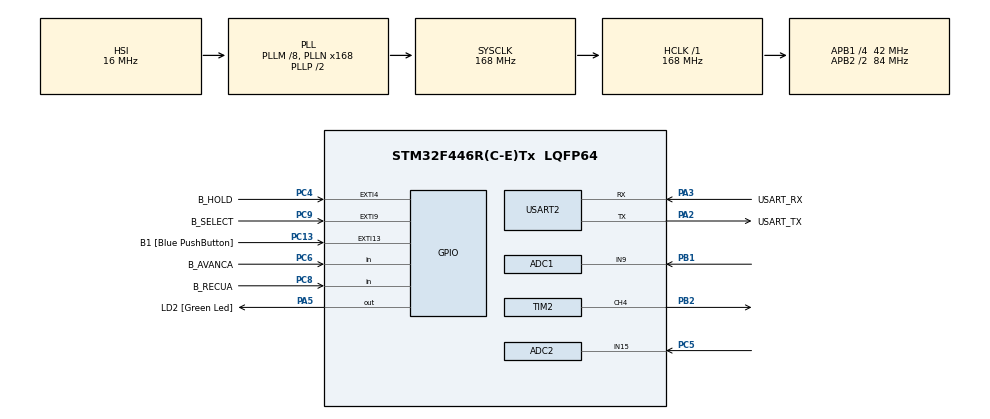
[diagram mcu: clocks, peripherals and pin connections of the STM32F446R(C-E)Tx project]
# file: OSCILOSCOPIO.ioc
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ADC1.Channel-1\#ChannelRegularConversion=ADC_CHANNEL_9
ADC1.NbrOfConversionFlag=1
ADC1.Rank-1\#ChannelRegularConversion=1
ADC1.SamplingTime-1\#ChannelRegularConversion=ADC_SAMPLETIME_3CYCLES
ADC1.master=1
ADC2.Channel-0\#ChannelRegularConversion=ADC_CHANNEL_15
ADC2.NbrOfConversionFlag=1
ADC2.Rank-0\#ChannelRegularConversion=1
ADC2.SamplingTime-0\#ChannelRegularConversion=ADC_SAMPLETIME_3CYCLES
ARM.CMSIS.5.6.0.CMSISJjCORE=true
ARM.CMSIS.5.6.0.CMSISJjDSP=Library
Mcu.Family=STM32F4
Mcu.Name=STM32F446R(C-E)Tx
Mcu.Package=LQFP64
NVIC.EXTI15_10_IRQn=true\:0\:0\:false\:false\:true\:true\:true
NVIC.EXTI4_IRQn=true\:0\:0\:false\:false\:true\:true\:true
NVIC.EXTI9_5_IRQn=true\:0\:0\:false\:false\:true\:true\:true
NVIC.PriorityGroup=NVIC_PRIORITYGROUP_0
NVIC.TIM6_DAC_IRQn=true\:0\:0\:false\:false\:true\:true\:true
PA13.GPIO_Label=TMS
PA13.Mode=Serial_Wire
PA13.Signal=SYS_JTMS-SWDIO
PA14.GPIO_Label=TCK
PA14.Mode=Serial_Wire
PA14.Signal=SYS_JTCK-SWCLK
PA2.GPIO_Label=USART_TX
PA2.Mode=Asynchronous
PA2.Signal=USART2_TX
PA3.GPIO_Label=USART_RX
PA3.Mode=Asynchronous
PA3.Signal=USART2_RX
PA5.GPIO_Label=LD2 [Green Led]
PA5.Signal=GPIO_Output
PB1.Signal=ADCx_IN9
PB2.Signal=S_TIM2_CH4
PB3.GPIO_Label=SWO
PB3.Signal=SYS_JTDO-SWO
PC13.GPIO_Label=B1 [Blue PushButton]
PC13.GPIO_ModeDefaultEXTI=GPIO_MODE_IT_FALLING
PC13.GPIO_PuPd=GPIO_NOPULL
PC13.Signal=GPXTI13
PC14-OSC32_IN.Mode=LSE-External-Oscillator
PC14-OSC32_IN.Signal=RCC_OSC32_IN
PC15-OSC32_OUT.Mode=LSE-External-Oscillator
PC15-OSC32_OUT.Signal=RCC_OSC32_OUT
PC4.GPIO_Label=B_HOLD
PC4.GPIO_ModeDefaultEXTI=GPIO_MODE_IT_RISING
PC4.GPIO_PuPd=GPIO_PULLDOWN
PC4.Signal=GPXTI4
PC5.Signal=ADCx_IN15
PC6.GPIO_Label=B_AVANCA
PC6.GPIO_PuPd=GPIO_PULLDOWN
PC6.Signal=GPIO_Input
PC8.GPIO_Label=B_RECUA
PC8.GPIO_PuPd=GPIO_PULLDOWN
PC8.Signal=GPIO_Input
PC9.GPIO_Label=B_SELECT
PC9.GPIO_ModeDefaultEXTI=GPIO_MODE_IT_FALLING
PC9.GPIO_PuPd=GPIO_PULLDOWN
PC9.Signal=GPXTI9
PH0-OSC_IN.Mode=HSE-External-Oscillator
PH0-OSC_IN.Signal=RCC_OSC_IN
PH1-OSC_OUT.Mode=HSE-External-Oscillator
PH1-OSC_OUT.Signal=RCC_OSC_OUT
ProjectManager.HeapSize=0x400
ProjectManager.StackSize=0x600
ProjectManager.TargetToolchain=STM32CubeIDE
RCC.48MHZClocksFreq_Value=84000000
RCC.AHBFreq_Value=168000000
RCC.APB1CLKDivider=RCC_HCLK_DIV4
RCC.APB1Freq_Value=42000000
RCC.APB1TimFreq_Value=84000000
RCC.APB2CLKDivider=RCC_HCLK_DIV2
RCC.APB2Freq_Value=84000000
RCC.APB2TimFreq_Value=168000000
RCC.CortexFreq_Value=168000000
RCC.FLatency-AdvancedSettings=FLASH_LATENCY_5
RCC.HCLKFreq_Value=168000000
RCC.HSE_VALUE=8000000
RCC.HSI_VALUE=16000000
RCC.PLLM=8
RCC.PLLN=168
RCC.SYSCLKFreq_VALUE=168000000
RCC.SYSCLKSource=RCC_SYSCLKSOURCE_PLLCLK
RCC.USBFreq_Value=168000000
RCC.VCOOutputFreq_Value=336000000
SH.ADCx_IN15.0=ADC2_IN15,IN15
SH.ADCx_IN9.0=ADC1_IN9,IN9
SH.S_TIM2_CH4.0=TIM2_CH4,PWM Generation4 CH4
TIM1.AutoReloadPreload=TIM_AUTORELOAD_PRELOAD_ENABLE
TIM1.Period=0xFFFF-1
TIM1.Prescaler=84-1
TIM2.Channel-PWM\ Generation4\ CH4=TIM_CHANNEL_4
TIM2.Period=1000-1
TIM2.Prescaler=168-1
TIM6.Period=100-1
TIM6.Prescaler=168-1
USART2.VirtualMode=VM_ASYNC
VP_ARM.CMSIS_VS_CMSISJjCORE_5.3.0.Mode=CMSISJjCORE
VP_ARM.CMSIS_VS_CMSISJjDSP_1.7.0.Mode=CMSISJjDSP
VP_TIM1_VS_ClockSourceINT.Mode=Internal
VP_TIM2_VS_ClockSourceINT.Mode=Internal
VP_TIM6_VS_ClockSourceINT.Mode=Enable_Timer
board=NUCLEO-F446RE

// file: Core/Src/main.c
/* USER CODE BEGIN Header */
/**
  ******************************************************************************
  * @file           : main.c
  * @brief          : Main program body
  ******************************************************************************
  * @attention
  *
  * <h2><center>&copy; Copyright (c) 2020 STMicroelectronics.
  * All rights reserved.</center></h2>
  *
  * This software component is licensed by ST under BSD 3-Clause license,
  * the "License"; You may not use this file except in compliance with the
  * License. You may obtain a copy of the License at:
  *                        opensource.org/licenses/BSD-3-Clause
  *
  ******************************************************************************
  */
/* USER CODE END Header */

#include "main.h"

/* USER CODE BEGIN Includes */
#include "stdio.h"
#include "fonts.h"
#include "tft.h"
#include "user_setting.h"
#include "functions.h"

#include "arm_math.h"
#include "arm_const_structs.h"

#include <string.h>

/* USER CODE END Includes */

/* USER CODE BEGIN PD */
#define DEBUG  0
#define TEST_LENGTH_SAMPLES 2048
#define LCD_W  320
#define LCD_H  240
#define TIME_MAX 5

/* FFT settings */
#define SAMPLES	512 			/* 256 real party and 256 imaginary parts */
#define FFT_SIZE SAMPLES / 2		/* FFT size is always the same size as we have samples, so 256 in our case */

//Defines para referenciar os estados da FSM
#define DC_GND		0
#define FFT			1
#define T_DIV		2
#define HOLD_DC		3
#define HOLD_FFT	4
#define HOLD_TDIV	5

#define DC_GND_SCREEN	1
#define FFT_SCREEN		2
#define FREQ_SCREEN		3
#define HOLD_SCREEN		4
/* USER CODE END PD */

ADC_HandleTypeDef hadc1;
ADC_HandleTypeDef hadc2;

TIM_HandleTypeDef htim1;
TIM_HandleTypeDef htim2;
TIM_HandleTypeDef htim6;

UART_HandleTypeDef huart2;

/* USER CODE BEGIN PV */

/* ------------------------------------------------------------------
 *	Imagens BMP convertidas para RGB565
 * -----------------------------------------------------------------*/
extern const unsigned short osciloscopio_320x240[76800];
extern const unsigned short telaosc_320x240[76800];

/*
 * Global Variables
 */
int32_t len;
int32_t size;
char sBuffer[30]; //CONVERSÃO...
uint8_t iADCValues[320] = {0};	//buffer para aguarda as amostras do sinal analogico
uint16_t iRefCH1 = 120;			//Posicao da referencia "0" no LCD
uint16_t mapTime[5][2]={{500,100},{250,50},{100,20},{50,10},{10,0}}; //1ºvalor = tempo em us
																	 //2ºvalor = tempo para delay de amostras

_Bool bModeDC = 1;		//Variavel para indicar se o modo DC esta ativo
uint8_t iTimeRef = 4;
uint8_t iModeFFT = 0;
uint8_t iVolts = 2;

/* ------------------------------------------------------------------
* Input and Output buffer Declarations for FFT
* ------------------------------------------------------------------- */
float32_t input_f32_10khz[TEST_LENGTH_SAMPLES];
static float32_t output_buffer[TEST_LENGTH_SAMPLES/2];

uint8_t fim_amostragem =0;

/* ------------------------------------------------------------------
* Global variables for FFT Bin Example
* ------------------------------------------------------------------- */
float32_t Input[SAMPLES];
float32_t Output[FFT_SIZE];

//Maquina de estado
_Bool bHold = 0;
_Bool bAvanca = 0;
_Bool bRecua = 0;
_Bool bSelect = 0;

uint8_t iMenuSelection = 1;

struct State {
	uint16_t Screen;		//Saída para o estado
	uint16_t wait;		//Tempo de espera do estado
	uint8_t next[8];	//Vetor de proximos estados
};
typedef const struct State tipoS;

//Estrutura de dados que corresponde ao diagrama de transição de estado
tipoS Fsm[6] = {
		[DC_GND] = {DC_GND_SCREEN,0,{DC_GND,HOLD_DC,FFT,HOLD_DC,T_DIV,HOLD_DC,DC_GND,HOLD_DC}},
		[FFT] = {FFT_SCREEN,0,{FFT,HOLD_FFT,T_DIV,HOLD_FFT,DC_GND,HOLD_FFT,FFT,HOLD_FFT}},
		[T_DIV] = {FREQ_SCREEN,0,{T_DIV,HOLD_TDIV,DC_GND,HOLD_TDIV,FFT,HOLD_TDIV,T_DIV,HOLD_TDIV}},
		[HOLD_DC] = {HOLD_SCREEN,0,{DC_GND,HOLD_DC,DC_GND,HOLD_DC,DC_GND,HOLD_DC,DC_GND,HOLD_DC}},
		[HOLD_FFT] = {HOLD_SCREEN,0,{FFT,HOLD_FFT,FFT,HOLD_FFT,FFT,HOLD_FFT,FFT,HOLD_FFT}},
		[HOLD_TDIV] = {HOLD_SCREEN,0,{T_DIV,HOLD_TDIV,T_DIV,HOLD_TDIV,T_DIV,HOLD_TDIV,T_DIV,HOLD_TDIV}},
};

uint8_t cState = DC_GND ;	//Estado atual

/* USER CODE END PV */

void SystemClock_Config(void);
static void MX_GPIO_Init(void);
static void MX_USART2_UART_Init(void);
static void MX_TIM1_Init(void);
static void MX_ADC1_Init(void);
static void MX_TIM2_Init(void);
static void MX_ADC2_Init(void);
static void MX_TIM6_Init(void);
/* USER CODE BEGIN PFP */
void USER_TFT_Init(void);
//void ModoAC(uint8_t *);
void ModoGND();
void ModoDC();
void ModoFFT();
void TelaInicial(uint8_t *);
void PlotaGrade(uint16_t, uint16_t, uint16_t,uint16_t,uint16_t,uint16_t);
long map(long, long, long, long, long);
void delayUs (uint16_t);
void USER_DrawBackground(void);
void updateMenu(uint8_t iMenuSelect);
void clickEventTreatment(uint8_t iMenuSelect);

/* USER CODE END PFP */

/* USER CODE BEGIN 0 */

#ifdef __GNUC__
/* With GCC/RAISONANCE, small printf (option LD Linker->Libraries->Small printf
 set to 'Yes') calls __io_putchar() */
	#define PUTCHAR_PROTOTYPE int __io_putchar(int ch)
#else
	#define PUTCHAR_PROTOTYPE int fputc(int ch, FILE *f)
#endif /* __GNUC__ */

int x = 0;
/* USER CODE END 0 */

int main(void)
{

  /* MCU Configuration--------------------------------------------------------*/

  /* Reset of all peripherals, Initializes the Flash interface and the Systick. */
  HAL_Init();

  /* Configure the system clock */
  SystemClock_Config();

  /* Initialize all configured peripherals */
  MX_GPIO_Init();
  MX_USART2_UART_Init();
  MX_TIM1_Init();
  MX_ADC1_Init();
  MX_TIM2_Init();
  MX_ADC2_Init();
  MX_TIM6_Init();
  /* USER CODE BEGIN 2 */
  USER_TFT_Init();

  //Inicia o PWM no pino PB1
  HAL_TIM_PWM_Start(&htim2, TIM_CHANNEL_4);
  htim2.Instance->CCR4 = 500; //Duty cycle = 50% -> 50

  //Initialize ISR TIM6
  HAL_TIM_Base_Start_IT(&htim6);

  //Desenha o background do LCD
  USER_DrawBackground();

  /* USER CODE END 2 */

  /* Infinite loop */
  /* USER CODE BEGIN WHILE */
  while (1)
  {
	  //Verifica se o botao de click foi pressionado
	  if (bSelect == true) clickEventTreatment(iMenuSelection);

	  //Verifica se o botao hold foi pressionado
	  if (bHold == false)
	  {
		  switch(Fsm[cState].Screen)
		  {
			  case DC_GND_SCREEN:	iMenuSelection = DC_GND;
				  	  	  	  	  	updateMenu(iMenuSelection);
									if(bModeDC) ModoDC();
										else ModoGND();
									break;

			  case FFT_SCREEN:	  iMenuSelection = FFT;
				  	  	  	  	  updateMenu(iMenuSelection);
				  	  	  	  	  ModoFFT();
								  break;

			  case FREQ_SCREEN:   iMenuSelection = T_DIV;
				  	  	  	  	  updateMenu(iMenuSelection);
				  	  	  	  	  if(bModeDC) ModoDC();
				  	  	  			else ModoGND();
								  break;

			  case HOLD_SCREEN:	  updateMenu(iMenuSelection);
			  	  	  	  	  	  break;
			  default: break;
		  }
	  }
	  else
	  {
		  updateMenu(iMenuSelection);
	  }
	  //Leitura do ADC2 para verificar a escala V/DIV
	  //USER_ReadVDiv();

	 //Faz a leitura dos botao Avanca e Recua para calcular o proximo estado
	 bAvanca = HAL_GPIO_ReadPin(GPIOC, B_AVANCA_Pin);
	 bRecua = HAL_GPIO_ReadPin(GPIOC, B_RECUA_Pin);
	 cState = Fsm[cState].next[bHold | (bAvanca<<1) | (bRecua<<2)];

    /* USER CODE END WHILE */

  }
}

void SystemClock_Config(void)
{
  RCC_OscInitTypeDef RCC_OscInitStruct = {0};
  RCC_ClkInitTypeDef RCC_ClkInitStruct = {0};

  /** Configure the main internal regulator output voltage
  */
  __HAL_RCC_PWR_CLK_ENABLE();
  __HAL_PWR_VOLTAGESCALING_CONFIG(PWR_REGULATOR_VOLTAGE_SCALE1);
  /** Initializes the CPU, AHB and APB busses clocks
  */
  RCC_OscInitStruct.OscillatorType = RCC_OSCILLATORTYPE_HSI;
  RCC_OscInitStruct.HSIState = RCC_HSI_ON;
  RCC_OscInitStruct.HSICalibrationValue = RCC_HSICALIBRATION_DEFAULT;
  RCC_OscInitStruct.PLL.PLLState = RCC_PLL_ON;
  RCC_OscInitStruct.PLL.PLLSource = RCC_PLLSOURCE_HSI;
  RCC_OscInitStruct.PLL.PLLM = 8;
  RCC_OscInitStruct.PLL.PLLN = 168;
  RCC_OscInitStruct.PLL.PLLP = RCC_PLLP_DIV2;
  RCC_OscInitStruct.PLL.PLLQ = 2;
  RCC_OscInitStruct.PLL.PLLR = 2;
  if (HAL_RCC_OscConfig(&RCC_OscInitStruct) != HAL_OK)
  {
    Error_Handler();
  }
  /** Initializes the CPU, AHB and APB busses clocks
  */
  RCC_ClkInitStruct.ClockType = RCC_CLOCKTYPE_HCLK|RCC_CLOCKTYPE_SYSCLK
                              |RCC_CLOCKTYPE_PCLK1|RCC_CLOCKTYPE_PCLK2;
  RCC_ClkInitStruct.SYSCLKSource = RCC_SYSCLKSOURCE_PLLCLK;
  RCC_ClkInitStruct.AHBCLKDivider = RCC_SYSCLK_DIV1;
  RCC_ClkInitStruct.APB1CLKDivider = RCC_HCLK_DIV4;
  RCC_ClkInitStruct.APB2CLKDivider = RCC_HCLK_DIV2;

  if (HAL_RCC_ClockConfig(&RCC_ClkInitStruct, FLASH_LATENCY_5) != HAL_OK)
  {
    Error_Handler();
  }
}

static void MX_ADC1_Init(void)
{

  ADC_ChannelConfTypeDef sConfig = {0};

  /** Configure the global features of the ADC (Clock, Resolution, Data Alignment and number of conversion)
  */
  hadc1.Instance = ADC1;
  hadc1.Init.ClockPrescaler = ADC_CLOCK_SYNC_PCLK_DIV4;
  hadc1.Init.Resolution = ADC_RESOLUTION_12B;
  hadc1.Init.ScanConvMode = DISABLE;
  hadc1.Init.ContinuousConvMode = DISABLE;
  hadc1.Init.DiscontinuousConvMode = DISABLE;
  hadc1.Init.ExternalTrigConvEdge = ADC_EXTERNALTRIGCONVEDGE_NONE;
  hadc1.Init.ExternalTrigConv = ADC_SOFTWARE_START;
  hadc1.Init.DataAlign = ADC_DATAALIGN_RIGHT;
  hadc1.Init.NbrOfConversion = 1;
  hadc1.Init.DMAContinuousRequests = DISABLE;
  hadc1.Init.EOCSelection = ADC_EOC_SINGLE_CONV;
  if (HAL_ADC_Init(&hadc1) != HAL_OK)
  {
    Error_Handler();
  }
  /** Configure for the selected ADC regular channel its corresponding rank in the sequencer and its sample time.
  */
  sConfig.Channel = ADC_CHANNEL_9;
  sConfig.Rank = 1;
  sConfig.SamplingTime = ADC_SAMPLETIME_3CYCLES;
  if (HAL_ADC_ConfigChannel(&hadc1, &sConfig) != HAL_OK)
  {
    Error_Handler();
  }

}

static void MX_ADC2_Init(void)
{

  ADC_ChannelConfTypeDef sConfig = {0};

  /** Configure the global features of the ADC (Clock, Resolution, Data Alignment and number of conversion)
  */
  hadc2.Instance = ADC2;
  hadc2.Init.ClockPrescaler = ADC_CLOCK_SYNC_PCLK_DIV4;
  hadc2.Init.Resolution = ADC_RESOLUTION_12B;
  hadc2.Init.ScanConvMode = DISABLE;
  hadc2.Init.ContinuousConvMode = DISABLE;
  hadc2.Init.DiscontinuousConvMode = DISABLE;
  hadc2.Init.ExternalTrigConvEdge = ADC_EXTERNALTRIGCONVEDGE_NONE;
  hadc2.Init.ExternalTrigConv = ADC_SOFTWARE_START;
  hadc2.Init.DataAlign = ADC_DATAALIGN_RIGHT;
  hadc2.Init.NbrOfConversion = 1;
  hadc2.Init.DMAContinuousRequests = DISABLE;
  hadc2.Init.EOCSelection = ADC_EOC_SINGLE_CONV;
  if (HAL_ADC_Init(&hadc2) != HAL_OK)
  {
    Error_Handler();
  }
  /** Configure for the selected ADC regular channel its corresponding rank in the sequencer and its sample time.
  */
  sConfig.Channel = ADC_CHANNEL_15;
  sConfig.Rank = 1;
  sConfig.SamplingTime = ADC_SAMPLETIME_3CYCLES;
  if (HAL_ADC_ConfigChannel(&hadc2, &sConfig) != HAL_OK)
  {
    Error_Handler();
  }

}

static void MX_TIM1_Init(void)
{

  TIM_ClockConfigTypeDef sClockSourceConfig = {0};
  TIM_MasterConfigTypeDef sMasterConfig = {0};

  htim1.Instance = TIM1;
  htim1.Init.Prescaler = 84-1;
  htim1.Init.CounterMode = TIM_COUNTERMODE_UP;
  htim1.Init.Period = 0xFFFF-1;
  htim1.Init.ClockDivision = TIM_CLOCKDIVISION_DIV1;
  htim1.Init.RepetitionCounter = 0;
  htim1.Init.AutoReloadPreload = TIM_AUTORELOAD_PRELOAD_ENABLE;
  if (HAL_TIM_Base_Init(&htim1) != HAL_OK)
  {
    Error_Handler();
  }
  sClockSourceConfig.ClockSource = TIM_CLOCKSOURCE_INTERNAL;
  if (HAL_TIM_ConfigClockSource(&htim1, &sClockSourceConfig) != HAL_OK)
  {
    Error_Handler();
  }
  sMasterConfig.MasterOutputTrigger = TIM_TRGO_RESET;
  sMasterConfig.MasterSlaveMode = TIM_MASTERSLAVEMODE_DISABLE;
  if (HAL_TIMEx_MasterConfigSynchronization(&htim1, &sMasterConfig) != HAL_OK)
  {
    Error_Handler();
  }

}

static void MX_TIM2_Init(void)
{

  TIM_ClockConfigTypeDef sClockSourceConfig = {0};
  TIM_MasterConfigTypeDef sMasterConfig = {0};
  TIM_OC_InitTypeDef sConfigOC = {0};

  htim2.Instance = TIM2;
  htim2.Init.Prescaler = 168-1;
  htim2.Init.CounterMode = TIM_COUNTERMODE_UP;
  htim2.Init.Period = 1000-1;
  htim2.Init.ClockDivision = TIM_CLOCKDIVISION_DIV1;
  htim2.Init.AutoReloadPreload = TIM_AUTORELOAD_PRELOAD_DISABLE;
  if (HAL_TIM_Base_Init(&htim2) != HAL_OK)
  {
    Error_Handler();
  }
  sClockSourceConfig.ClockSource = TIM_CLOCKSOURCE_INTERNAL;
  if (HAL_TIM_ConfigClockSource(&htim2, &sClockSourceConfig) != HAL_OK)
  {
    Error_Handler();
  }
  if (HAL_TIM_PWM_Init(&htim2) != HAL_OK)
  {
    Error_Handler();
  }
  sMasterConfig.MasterOutputTrigger = TIM_TRGO_RESET;
  sMasterConfig.MasterSlaveMode = TIM_MASTERSLAVEMODE_DISABLE;
  if (HAL_TIMEx_MasterConfigSynchronization(&htim2, &sMasterConfig) != HAL_OK)
  {
    Error_Handler();
  }
  sConfigOC.OCMode = TIM_OCMODE_PWM1;
  sConfigOC.Pulse = 0;
  sConfigOC.OCPolarity = TIM_OCPOLARITY_HIGH;
  sConfigOC.OCFastMode = TIM_OCFAST_DISABLE;
  if (HAL_TIM_PWM_ConfigChannel(&htim2, &sConfigOC, TIM_CHANNEL_4) != HAL_OK)
  {
    Error_Handler();
  }
  HAL_TIM_MspPostInit(&htim2);

}

static void MX_TIM6_Init(void)
{

  TIM_MasterConfigTypeDef sMasterConfig = {0};

  htim6.Instance = TIM6;
  htim6.Init.Prescaler = 168-1;
  htim6.Init.CounterMode = TIM_COUNTERMODE_UP;
  htim6.Init.Period = 100-1;
  htim6.Init.AutoReloadPreload = TIM_AUTORELOAD_PRELOAD_DISABLE;
  if (HAL_TIM_Base_Init(&htim6) != HAL_OK)
  {
    Error_Handler();
  }
  sMasterConfig.MasterOutputTrigger = TIM_TRGO_RESET;
  sMasterConfig.MasterSlaveMode = TIM_MASTERSLAVEMODE_DISABLE;
  if (HAL_TIMEx_MasterConfigSynchronization(&htim6, &sMasterConfig) != HAL_OK)
  {
    Error_Handler();
  }

}

static void MX_USART2_UART_Init(void)
{

  huart2.Instance = USART2;
  huart2.Init.BaudRate = 115200;
  huart2.Init.WordLength = UART_WORDLENGTH_8B;
  huart2.Init.StopBits = UART_STOPBITS_1;
  huart2.Init.Parity = UART_PARITY_NONE;
  huart2.Init.Mode = UART_MODE_TX_RX;
  huart2.Init.HwFlowCtl = UART_HWCONTROL_NONE;
  huart2.Init.OverSampling = UART_OVERSAMPLING_16;
  if (HAL_UART_Init(&huart2) != HAL_OK)
  {
    Error_Handler();
  }

}

static void MX_GPIO_Init(void)
{
  GPIO_InitTypeDef GPIO_InitStruct = {0};

  /* GPIO Ports Clock Enable */
  __HAL_RCC_GPIOC_CLK_ENABLE();
  __HAL_RCC_GPIOH_CLK_ENABLE();
  __HAL_RCC_GPIOA_CLK_ENABLE();
  __HAL_RCC_GPIOB_CLK_ENABLE();

  /*Configure GPIO pin Output Level */
  HAL_GPIO_WritePin(LD2_GPIO_Port, LD2_Pin, GPIO_PIN_RESET);

  /*Configure GPIO pin : B1_Pin */
  GPIO_InitStruct.Pin = B1_Pin;
  GPIO_InitStruct.Mode = GPIO_MODE_IT_FALLING;
  GPIO_InitStruct.Pull = GPIO_NOPULL;
  HAL_GPIO_Init(B1_GPIO_Port, &GPIO_InitStruct);

  /*Configure GPIO pin : LD2_Pin */
  GPIO_InitStruct.Pin = LD2_Pin;
  GPIO_InitStruct.Mode = GPIO_MODE_OUTPUT_PP;
  GPIO_InitStruct.Pull = GPIO_NOPULL;
  GPIO_InitStruct.Speed = GPIO_SPEED_FREQ_LOW;
  HAL_GPIO_Init(LD2_GPIO_Port, &GPIO_InitStruct);

  /*Configure GPIO pin : B_HOLD_Pin */
  GPIO_InitStruct.Pin = B_HOLD_Pin;
  GPIO_InitStruct.Mode = GPIO_MODE_IT_RISING;
  GPIO_InitStruct.Pull = GPIO_PULLDOWN;
  HAL_GPIO_Init(B_HOLD_GPIO_Port, &GPIO_InitStruct);

  /*Configure GPIO pins : B_AVANCA_Pin B_RECUA_Pin */
  GPIO_InitStruct.Pin = B_AVANCA_Pin|B_RECUA_Pin;
  GPIO_InitStruct.Mode = GPIO_MODE_INPUT;
  GPIO_InitStruct.Pull = GPIO_PULLDOWN;
  HAL_GPIO_Init(GPIOC, &GPIO_InitStruct);

  /*Configure GPIO pin : B_SELECT_Pin */
  GPIO_InitStruct.Pin = B_SELECT_Pin;
  GPIO_InitStruct.Mode = GPIO_MODE_IT_FALLING;
  GPIO_InitStruct.Pull = GPIO_PULLDOWN;
  HAL_GPIO_Init(B_SELECT_GPIO_Port, &GPIO_InitStruct);

  /* EXTI interrupt init*/
  HAL_NVIC_SetPriority(EXTI4_IRQn, 0, 0);
  HAL_NVIC_EnableIRQ(EXTI4_IRQn);

  HAL_NVIC_SetPriority(EXTI9_5_IRQn, 0, 0);
  HAL_NVIC_EnableIRQ(EXTI9_5_IRQn);

  HAL_NVIC_SetPriority(EXTI15_10_IRQn, 0, 0);
  HAL_NVIC_EnableIRQ(EXTI15_10_IRQn);

}

/* USER CODE BEGIN 4 */
/**
 * @brief Retargets the C library printf function to the USART.
 * @param None
 * @retval None
 */
PUTCHAR_PROTOTYPE
{
 /* Place your implementation of fputc here */
 /* e.g. write a character to the USART2 and Loop until the end of transmission */
 HAL_UART_Transmit(&huart2, (uint8_t *)&ch, 1, 0xFFFF);
 return ch;
}

void USER_TFT_Init(void)
{
	int16_t ID;

    //Sequência de inicialização do LCD
    tft_gpio_init(); 				//Inicializa os GPIOs do LCD (evita uso do CubeMX)
    HAL_TIM_Base_Start(&htim1); 		//Inicializa o Timer1 (base de tempo de us do LCD)
    ID = tft_readID(); 		//Lê o ID do LCD (poderia ser chamada pela inicialização do LCD)
    HAL_Delay(100);
    tft_init (ID); 			//Inicializa o LCD de acordo com seu ID
    setRotation(1); 			//Ajusta a orientação da tela
    fillScreen(BLACK); 		//Preenche a tela em uma só cor
}

void USER_DrawBackground(void)
{
	fillScreen(BLACK);
	PlotaGrade(300, 200, 50, 10, 20, GREY);	// Plota a grade

	//Plota V/DIV
	//printnewtstr (10,18, WHITE, &mono12x7bold, 1, (uint8_t *)"V/DIV");

	//Plota menu DC
	//printnewtstr (15,237, WHITE, &mono12x7bold, 1, (uint8_t *)"DC");
	//printnewtstr_bc(15,237, BLACK,WHITE, &mono12x7bold, 1, (uint8_t *)" DC ");

	//Plota menu FFT
	//printnewtstr (150,237, WHITE, &mono12x7bold, 1, (uint8_t *)"FFT");

	//Plota menu t/DIV
	//printnewtstr (260,237, WHITE, &mono12x7bold, 1, (uint8_t *)"/DIV");

}

//FUNÇÃO DO MODO DC DO OSCILOSCÓPIO, QUE ATRAVÉS DO MENU INICIAL IREMOS ACESSAR ELA//
void ModoDC()
{
    uint8_t retornar = 0;
    uint16_t iSamplePos, iADC1;

	iSamplePos = 0;
	// AQUI VAI O CODIGO PARA FUNCIONAMENTO DO MODO AC DO OSCILOSCÓPIO//
	//Inicia a leitura  do conversor AD
	for(iSamplePos = 0; iSamplePos <= LCD_W; iSamplePos++)
	{
		HAL_ADC_Start(&hadc1);
		if(HAL_ADC_PollForConversion(&hadc1, 5) == HAL_OK)
		{
			//Guarda o valor do conversor AD no Array
			iADC1 = HAL_ADC_GetValue(&hadc1);
			iADCValues[iSamplePos] = map(iADC1, 0, 4095, 0, 100);
			if(DEBUG)
			{
				size = sprintf(sBuffer,"ADC1 = %d\r\n",iADC1);
				HAL_UART_Transmit(&huart2, sBuffer, size, 10);
				size = sprintf(sBuffer,"iADCValues = %d\r\n",iADCValues[iSamplePos]);
				HAL_UART_Transmit(&huart2, sBuffer, size, 10);
			}

		}
		delayUs(mapTime[iTimeRef][1]);
	}

//	//Aqui é a condição de retorno/saída da tela.
//	if (HAL_GPIO_ReadPin(GPIOC, GPIO_PIN_6))
//		retornar = 1;

	//Verifica se ja foi captada as 320 amostras
	if (iSamplePos >= LCD_W)
	{

		//Plota o sinal captado no LCD
		for(int x = 1; x <= LCD_W; x++)
		{
			drawLine(x-1, 120 - iADCValues[x-1], x, 120 - iADCValues[x], RED);
		}
		//memset(valores,0,320);
		iSamplePos = 0;
		HAL_Delay(500);

		//Limpa o sinal captado no LCD e printa a grade novamente
		for(int x = 1; x <= LCD_W; x++)
		{
			drawLine(x-1, 120 - iADCValues[x-1], x, 120 - iADCValues[x], BLACK);
		}
		PlotaGrade(300, 200, 50, 10, 20, GREY);
	}

}

/**
 * Função para desenhar a referencia GND na tela
 */
void ModoGND()
{
	drawLine ( 0,  iRefCH1,  LCD_W,  iRefCH1,  RED);
	HAL_Delay(500);
}

void ModoFFT(void)
{

	arm_cfft_radix4_instance_f32 S_CFFT;
	arm_rfft_instance_f32 S;
	uint16_t i;
    uint16_t y;
    uint16_t z;

	int32_t amp, escala, yini, yfinal, ycentro;
	char num[30];
	int32_t size;

    uint32_t fftSize = 1024;
    uint32_t ifftFlag = 0;
    uint32_t doBitReverse = 1;

	/* ----------------------------------------------------------------------
	* Max magnitude FFT Bin test
	* ------------------------------------------------------------------- */
	arm_status status;
	float32_t maxValue;

    /* Reference index at which max energy of bin ocuurs */
    uint32_t refIndex = 213;
    uint32_t  maxValueIndex = 0;

	//Verifica a amostragem do sinal terminou
    if(fim_amostragem == 1)
    {
    	fim_amostragem = 0;
    	if(DEBUG)
    	{
    		HAL_UART_Transmit(&huart2, "Fim da Amostragem\r\n", 21, 10);
    	}

		status = ARM_MATH_SUCCESS;

		//------------Teste LCD--------------
		//float32_t espelho_pre_processamento[320];
		//for(int i=0; i<320; i++)
		//  espelho_pre_processamento[i] = input_f32_10khz[i*2]; //Pula os zeros da parte imaginária

		/* Process the data through the CFFT/CIFFT module */
		arm_cfft_f32(&arm_cfft_sR_f32_len1024, input_f32_10khz, ifftFlag, doBitReverse);

		/* Process the data through the Complex Magnitude Module for calculating the magnitude at each bin */
		arm_cmplx_mag_f32(input_f32_10khz, output_buffer, fftSize);

		/* Calculates maxValue and returns corresponding BIN value */
		arm_max_f32(&output_buffer[1], fftSize-1, &maxValue, &maxValueIndex);

		/** Loop here if the signals fail the PASS check.
		 ** This denotes a test failure
		 ** ------------------------------------------------------------------- */
		if ( status != ARM_MATH_SUCCESS)
		{
			while (1);
		}

		//fs = 10.000, numero de amostras =1024, df = 10.000/1024 = 9,76
		//Detecta a frequencia principal
		maxValueIndex = maxValueIndex * 976 / 100;
		size = sprintf(sBuffer,"Frequencia principal = %d\r\n",maxValueIndex);
		HAL_UART_Transmit(&huart2, sBuffer, size, 10);

		//---------------Agora vai para o LCD----------------
		//Desenha o sinal no dominio da frequencia no LCD
		escala = 100;
		ycentro = 220;
		for(i=0; i<LCD_W; i++)
		{
			amp = (int32_t)(output_buffer[i]*escala/maxValue);
			if(DEBUG)
			{
				size = sprintf(num,"%d\r\n",amp);
				HAL_UART_Transmit(&huart2, num, size, 10);
			}

			if(amp>0) { yini = ycentro-amp; yfinal = ycentro; }
			else { yini = ycentro; yfinal = ycentro-amp; }

			fillRect(i, yini, 1, yfinal-yini+1, RED);
		}
		//Initialize ISR TIM6
		HAL_TIM_Base_Start_IT(&htim6);

		HAL_Delay(1000);

		//Limpa o sinal anterior
		for(i=0; i<LCD_W; i++)
		{
			amp = (int32_t)(output_buffer[i]*escala/maxValue);
			if(DEBUG)
			{
				size = sprintf(num,"%d\r\n",amp);
				HAL_UART_Transmit(&huart2, num, size, 10);
			}

			if(amp>0) { yini = ycentro-amp; yfinal = ycentro; }
			else { yini = ycentro; yfinal = ycentro-amp; }

			fillRect(i, yini, 1, yfinal-yini+1, BLACK);
		}

		//Plota a grade
		PlotaGrade(300, 200, 50, 10, 20, GREY);

    }

		//Geração de Sinal para teste( para utilizar, só descomentar esse e comentar o
		//laço for do  conversor AD acima)//

		/*
		for(i=0; i<512; ++i)
				{
					buffer_input[i] = (float32_t) 30*sin(2*PI*freq*i*dt);

					 ++freq;

						  if(freq > 200)
							freq = 1;
				}

		 */
		/////////////////////////////////////////////////////////////////////////////////
		// Plotagem do Sinal gerado para teste no dominio da frequencia para comparação//
		//(para utilizar, só descomentar , não esquecer de comentar o laço for do conversor AD//
		/*
		 for(i=0; i<255; ++i)
					 {
						drawLine(i + 32, (uint16_t)(buffer_input[i] + 50), i + 33, (uint16_t)(buffer_input[i+1] + 50), BLUE);

					  }
		 HAL_Delay(500);
		 */

}

//Funcao responsavel por atualizar o menu do osciloscopio
void updateMenu(uint8_t iMenuSelect)
{
	//Verifica se é modo DC ou GND
	if(bModeDC != true) sprintf(sBuffer,"GND");
		else sprintf(sBuffer,"DC ");

	if (iMenuSelect == DC_GND) printnewtstr_bc(15,237, BLACK,WHITE, &mono12x7bold, 1, sBuffer);
		else printnewtstr_bc (15,237, WHITE,BLACK, &mono12x7bold, 1, sBuffer);

	//Verifica se o Hold está pressionado
	if(bHold) printnewtstr_bc(260,15, BLACK,RED, &mono12x7bold, 1, (uint8_t *)"HOLD");
		else printnewtstr_bc(260,15, BLACK,BLACK, &mono12x7bold, 1, (uint8_t *)"    ");

	//Verifica se menu FFT está selecionado
	if (iMenuSelect == FFT)	printnewtstr_bc(150,237, BLACK,WHITE, &mono12x7bold, 1, "FFT");
		else printnewtstr_bc (150,237, WHITE,BLACK, &mono12x7bold, 1, "FFT");

	//Verifica se menu TDIV está selecionado
	if(iMenuSelect == T_DIV)
	{
		size = sprintf(sBuffer,"%dus ",mapTime[iTimeRef][0]);
		printnewtstr_bc(250,237, BLACK,WHITE, &mono12x7bold, 1, sBuffer);
	}
	else
	{
		size = sprintf(sBuffer,"%dus ",mapTime[iTimeRef][0]);
		printnewtstr_bc (250,237, WHITE,BLACK, &mono12x7bold, 1, sBuffer);
	}

	//Atualiza Volts/DIV
	size = sprintf(sBuffer,"%dV ",iVolts);
	printnewtstr (10,18, WHITE, &mono12x7bold, 1, sBuffer);

}

//Funcao para fazer o tratamento do click do botao select
void clickEventTreatment(uint8_t iMenuSelect)
{
	if(iMenuSelect == DC_GND)
	{
		//altera entre modo GND e DC
		bModeDC = !bModeDC;
	}
	else if(iMenuSelect == T_DIV)
	{
		//altera tempo de amostragem do sinal
		iTimeRef++;
		if (iTimeRef >= TIME_MAX)
		{
			iTimeRef = 0;
		}

	}
	else
	{
		//Caso existir mais tratamentos de botões
	}

	bSelect = false;
}

//Callback de tratamento de interrupcao EXTI
void HAL_GPIO_EXTI_Callback(uint16_t GPIO_Pin)
{
	//Verifica se a o botao hold foi pressionado
	if(GPIO_Pin == B_HOLD_Pin)
	{
		//HAL_Delay(20);
		if((HAL_GPIO_ReadPin(GPIOC, B_HOLD_Pin)== GPIO_PIN_SET))
		{
			bHold = !bHold;
		}
	}

	//Verifica se o botao select foi precionado
	if(GPIO_Pin == B_SELECT_Pin)
	{
		if((HAL_GPIO_ReadPin(GPIOC, B_SELECT_Pin)== GPIO_PIN_SET))
		{
			bSelect = true;
		}
	}
}

//Callback das interrupcoes dos timers (TIM6) para amostragem do sinal de entrada para FFT
void HAL_TIM_PeriodElapsedCallback(TIM_HandleTypeDef *htim)
{
	static int32_t amostra = 0;

	//Ler um eixo do acelerometro
	if (amostra < TEST_LENGTH_SAMPLES/2)
	{
		HAL_ADC_Start(&hadc1);
		if(HAL_ADC_PollForConversion(&hadc1, 5) == HAL_OK)
		{
			input_f32_10khz[amostra*2] =  HAL_ADC_GetValue(&hadc1);
			input_f32_10khz[amostra*2 + 1] = 0;
			amostra++;
		}
	}
	else
	{
		fim_amostragem = 1;					//Sinaliza o fim do processo
		amostra = 0;
		HAL_TIM_Base_Stop_IT(&htim6);		//Interrompe a amostragem
	}
}

/**
* Funcao para plotar uma grade na tela LCD
* Por: Luiz Fernando - 22/11/2020
* Informacoes necessarias:
* 	Tamanho da tela Largura e Altura
* 	Tamanho dos quadrados simetricos
* 	Posicao X e Y do inicio da tela
*	Cor da Linha
* Necessario projeto com LCD em funcionamento e bibliotecas adjacentes
* NB.: o tamanho do quadro precisa ser um MDC entre largura e altura
*/
void PlotaGrade(uint16_t iLargura, uint16_t iAltura, uint16_t tmQuadros, uint16_t posX, uint16_t posY, uint16_t cCOLOR)
{
	/** Define quantidade de quadros e tamanho */
	uint16_t qtL = (iAltura/tmQuadros); 	//qtd linhas
	uint16_t qtC = (iLargura/tmQuadros);	//qtd colunas
	uint16_t corT = YELLOW;					//cor dos tracos das subdivisoes
	int16_t posLV = (iLargura/2)+posX;		//posicao eixo central vertical
	int16_t posLH = (iAltura/2)+posY;		//posicao eixo central horizontal
	uint16_t i = 0;
	/** desenha linhas verticais */
	for(i=0;i<=qtC;i++)
	{
		drawFastVLine((i*tmQuadros+posX), posY, iAltura, cCOLOR);
	}
	/** desenha linhas horizontais */
	for(i=0;i<=qtL;i++)
	{
		drawFastHLine(posX, (i*tmQuadros+posY), iLargura, cCOLOR);
	}
	uint16_t fDX = 4;			//fator de divisao e multiplicacao (exibir tracos)
	uint16_t tmT = 6;			//tamanho do traco
	/** desenha tracos verticais */
	for(i=0;i<=(qtC*fDX);i++)
	{
		drawFastVLine((i*(tmQuadros/fDX)+posX), posLH-(tmT/2), tmT, corT);
	}
	/** desenha tracos horizontais */
	for(i=0;i<=(qtL*fDX);i++)
	{
		drawFastHLine(posLV-(tmT/2), (i*(tmQuadros/fDX)+posY), tmT, corT);
	}
}

/**
 * FUNÇÃO MAP, PORTADO DO ARDUINO PARA O STM32
 */
long map(long x, long in_min, long in_max, long out_min, long out_max)
{
	return (x - in_min) * (out_max - out_min) / (in_max - in_min) + out_min;
}

/**
 * Função para gerar Delay em micro segundos
 */
void delayUs (uint16_t us)
{
	__HAL_TIM_SET_COUNTER(&htim1,0);  // set the counter value a 0
	while (__HAL_TIM_GET_COUNTER(&htim1) < us);  // wait for the counter to reach the us input in the parameter
}

/* USER CODE END 4 */

void Error_Handler(void)
{
}

/************************ (C) COPYRIGHT STMicroelectronics *****END OF FILE****/
